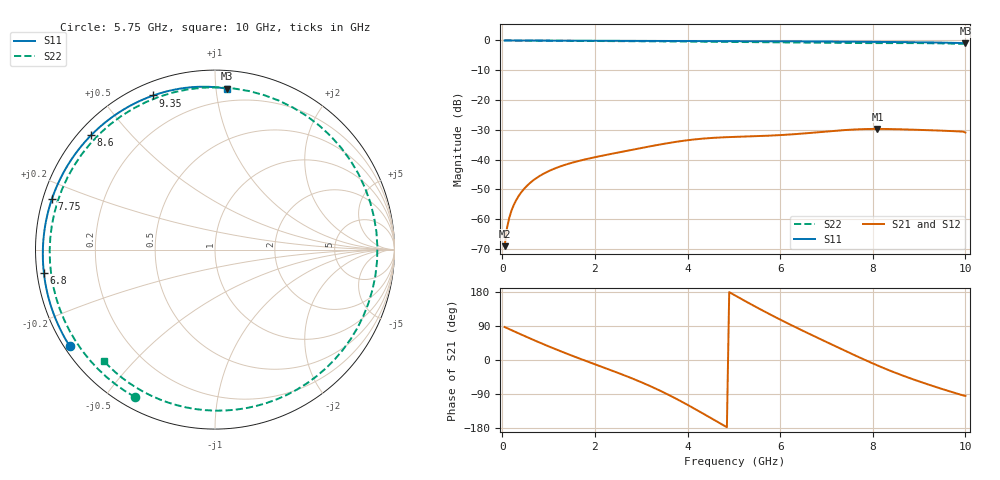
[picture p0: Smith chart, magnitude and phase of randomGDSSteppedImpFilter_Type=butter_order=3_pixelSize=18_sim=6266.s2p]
! freq	dB(S11)	phase(S11)	dB(S12)	phase(S12)
!  dB(S21)	phase(S21)	dB(S22)	phase(S22)
!S-par simulation data
#  GHz  S  DB  R 50
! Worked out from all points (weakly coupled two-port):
!   200 points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, 50 MHz to 10 GHz, reference 50 ohm
!   highest |S21| = -29.67 dB at 8.1 GHz (marker M1); lowest = -69.0 dB at 50 MHz (marker M2)
!   lowest |S11| = -0.9 dB at 10 GHz (marker M3), VSWR 18.81, Z = 5.71 + j53.4 ohm
!   |S11| at or under -10 dB: nowhere
!   |S22| runs from -1.1 to 0.0 dB; largest |S21 - S12| = 0
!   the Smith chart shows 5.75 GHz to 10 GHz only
!   S11 on the Smith chart (normalised r, x): 5.75 GHz: 0.02, -0.30; 6.8 GHz: 0.02, -0.07; 7.75 GHz: 0.03, +0.15; 8.6 GHz: 0.04, +0.39; 9.35 GHz: 0.06, +0.68; 10 GHz: 0.11, +1.07
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0.05  -0.00 -1.4  -69.02 87.1  -69.02 87.1  -0.00 -4.2
0.2  -0.01 -5.6  -57.04 78.7  -57.04 78.7  -0.02 -16.8
0.5  -0.02 -13.9  -49.29 62.2  -49.29 62.2  -0.05 -41.6
1.1  -0.04 -30.4  -43.16 31.0  -43.16 31.0  -0.11 -89.0
1.75  -0.06 -47.8  -40.04 0.1  -40.04 0.1  -0.15 -137.1
2.55  -0.09 -68.7  -37.45 -36.4  -37.45 -36.4  -0.20 164.7
3.4  -0.12 -90.0  -34.92 -80.5  -34.92 -80.5  -0.29 95.5
3.8  -0.14 -99.8  -33.90 -105.1  -33.90 -105.1  -0.35 58.7
4.3  -0.16 -111.8  -32.97 -138.9  -32.97 -138.9  -0.42 10.3
4.65  -0.18 -120.1  -32.59 -163.4  -32.59 -163.4  -0.46 -23.2
5.05  -0.20 -129.6  -32.33 168.7  -32.33 168.7  -0.50 -59.8
5.75  -0.25 -146.3  -31.95 122.4  -31.95 122.4  -0.59 -118.5
6.25  -0.29 -158.4  -31.51 91.5  -31.51 91.5  -0.67 -158.8
6.7  -0.32 -169.6  -30.96 64.9  -30.96 64.9  -0.75 162.9
6.8  -0.33 -172.1  -30.83 59.1  -30.83 59.1  -0.77 153.9
7.3  -0.38 174.9  -30.17 30.2  -30.17 30.2  -0.86 104.8
7.75  -0.43 162.6  -29.77 4.7  -29.77 4.7  -0.89 55.6
8.1  -0.48 152.5  -29.67 -14.3  -29.67 -14.3  -0.88 16.9
8.35  -0.51 145.1  -29.71 -27.0  -29.71 -27.0  -0.86 -9.3
8.6  -0.54 137.3  -29.81 -38.9  -29.81 -38.9  -0.86 -33.5
9.35  -0.68 111.8  -30.18 -70.7  -30.18 -70.7  -0.95 -93.5
10  -0.92 85.9  -30.89 -94.6  -30.89 -94.6  -1.14 -134.8
